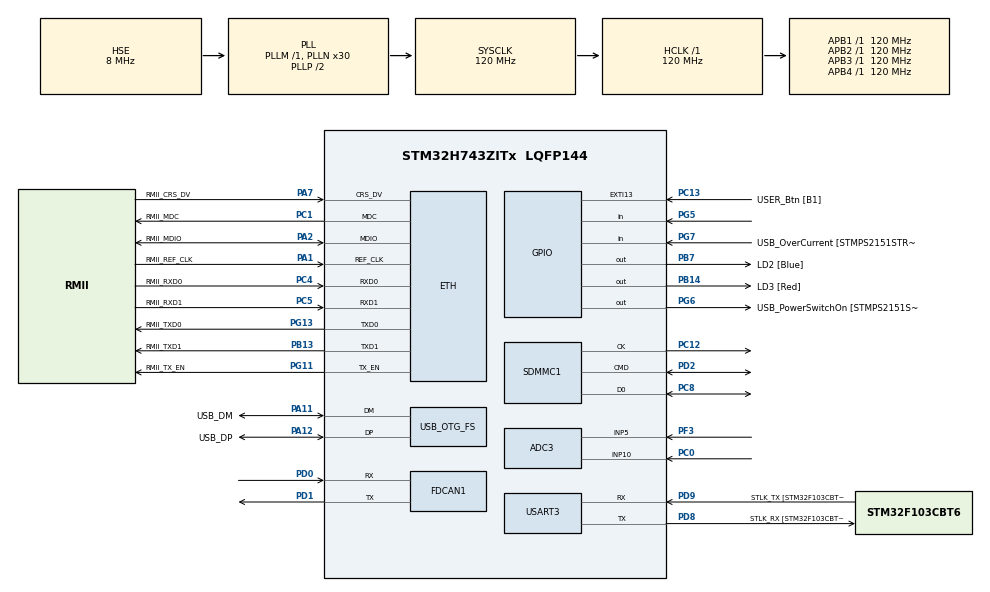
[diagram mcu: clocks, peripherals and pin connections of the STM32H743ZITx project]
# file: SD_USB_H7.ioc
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ADC3.Channel-2\#ChannelRegularConversion=ADC_CHANNEL_5
ADC3.Channel-3\#ChannelRegularConversion=ADC_CHANNEL_5
ADC3.ClockPrescaler=ADC_CLOCK_ASYNC_DIV6
ADC3.ContinuousConvMode=DISABLE
ADC3.ConversionDataManagement=ADC_CONVERSIONDATA_DMA_CIRCULAR
ADC3.ExternalTrigConv=ADC_EXTERNALTRIG_T4_TRGO
ADC3.NbrOfConversion=2
ADC3.NbrOfConversionFlag=1
ADC3.OffsetNumber-2\#ChannelRegularConversion=ADC_OFFSET_NONE
ADC3.OffsetNumber-3\#ChannelRegularConversion=ADC_OFFSET_NONE
ADC3.Overrun=ADC_OVR_DATA_OVERWRITTEN
ADC3.Rank-2\#ChannelRegularConversion=1
ADC3.Rank-3\#ChannelRegularConversion=2
ADC3.SamplingTime-2\#ChannelRegularConversion=ADC_SAMPLETIME_1CYCLE_5
ADC3.SamplingTime-3\#ChannelRegularConversion=ADC_SAMPLETIME_1CYCLE_5
Dma.ADC3.0.Direction=DMA_PERIPH_TO_MEMORY
Dma.ADC3.0.EventEnable=DISABLE
Dma.ADC3.0.FIFOMode=DMA_FIFOMODE_DISABLE
Dma.ADC3.0.Instance=DMA1_Stream0
Dma.ADC3.0.MemDataAlignment=DMA_MDATAALIGN_HALFWORD
Dma.ADC3.0.MemInc=DMA_MINC_ENABLE
Dma.ADC3.0.Mode=DMA_CIRCULAR
Dma.ADC3.0.PeriphDataAlignment=DMA_PDATAALIGN_HALFWORD
Dma.ADC3.0.PeriphInc=DMA_PINC_DISABLE
Dma.ADC3.0.Polarity=HAL_DMAMUX_REQ_GEN_RISING
Dma.ADC3.0.Priority=DMA_PRIORITY_LOW
Dma.ADC3.0.RequestNumber=1
Dma.ADC3.0.SignalID=NONE
Dma.ADC3.0.SyncEnable=DISABLE
Dma.ADC3.0.SyncPolarity=HAL_DMAMUX_SYNC_NO_EVENT
Dma.ADC3.0.SyncRequestNumber=1
Dma.ADC3.0.SyncSignalID=NONE
Dma.Request0=ADC3
ETH.MediaInterface=HAL_ETH_RMII_MODE
FATFS.BSP.number=1
FATFS.USE_DMA_CODE_SD=0
FATFS._CODE_PAGE=850
FATFS._FS_EXFAT=1
FATFS._FS_LOCK=2
FATFS._LFN_UNICODE=0
FATFS._MAX_SS=4096
FATFS._USE_LFN=3
FATFS._VOLUMES=2
FATFS0.BSP.STBoard=false
FATFS0.BSP.api=Unknown
FATFS0.BSP.i2caddr=0
FATFS0.BSP.instance=PG5
FATFS0.BSP.ip=GPIO
FATFS0.BSP.mode=Input
FATFS0.BSP.name=Detect_SDIO
FATFS0.BSP.solution=PG5
FDCAN1.NominalPrescaler=5
FDCAN1.NominalTimeSeg1=13
Mcu.Family=STM32H7
Mcu.Name=STM32H743ZITx
Mcu.Package=LQFP144
NVIC.DMA1_Stream0_IRQn=true\:0\:0\:false\:false\:true\:false\:true
NVIC.EXTI15_10_IRQn=true\:0\:0\:false\:true\:true\:2\:true\:true
NVIC.FDCAN1_IT0_IRQn=true\:0\:0\:false\:true\:true\:1\:true\:true
NVIC.FDCAN_CAL_IRQn=true\:0\:0\:false\:true\:true\:3\:true\:true
NVIC.OTG_FS_IRQn=true\:0\:0\:false\:true\:true\:4\:false\:true
NVIC.PriorityGroup=NVIC_PRIORITYGROUP_4
NVIC.TIM17_IRQn=true\:0\:0\:false\:true\:true\:5\:true\:true
PA1.GPIO_Label=RMII_REF_CLK
PA1.Mode=RMII
PA1.Signal=ETH_REF_CLK
PA10.GPIO_Label=USB_ID
PA10.Signal=USB_OTG_FS_ID
PA11.GPIO_Label=USB_DM
PA11.Mode=Device_Only
PA11.Signal=USB_OTG_FS_DM
PA12.GPIO_Label=USB_DP
PA12.Mode=Device_Only
PA12.Signal=USB_OTG_FS_DP
PA2.GPIO_Label=RMII_MDIO
PA2.Mode=RMII
PA2.Signal=ETH_MDIO
PA7.GPIO_Label=RMII_CRS_DV
PA7.Mode=RMII
PA7.Signal=ETH_CRS_DV
PA8.GPIO_Label=USB_SOF [TP1]
PA8.Signal=USB_OTG_FS_SOF
PA9.GPIO_Label=USB_VBUS
PA9.Signal=USB_OTG_FS_VBUS
PB13.GPIO_Label=RMII_TXD1
PB13.Mode=RMII
PB13.Signal=ETH_TXD1
PB14.GPIO_Label=LD3 [Red]
PB14.GPIO_PuPd=GPIO_NOPULL
PB14.Signal=GPIO_Output
PB7.GPIO_Label=LD2 [Blue]
PB7.GPIO_PuPd=GPIO_NOPULL
PB7.Signal=GPIO_Output
PC0.Signal=ADCx_INP10
PC1.GPIO_Label=RMII_MDC
PC1.Mode=RMII
PC1.Signal=ETH_MDC
PC12.Mode=SD_1_bit
PC12.Signal=SDMMC1_CK
PC13.GPIO_Label=USER_Btn [B1]
PC13.GPIO_ModeDefaultEXTI=GPIO_MODE_IT_RISING
PC13.Signal=GPXTI13
PC14-OSC32_IN\ (OSC32_IN).Mode=LSE-External-Oscillator
PC14-OSC32_IN\ (OSC32_IN).Signal=RCC_OSC32_IN
PC15-OSC32_OUT\ (OSC32_OUT).Mode=LSE-External-Oscillator
PC15-OSC32_OUT\ (OSC32_OUT).Signal=RCC_OSC32_OUT
PC4.GPIO_Label=RMII_RXD0
PC4.Mode=RMII
PC4.Signal=ETH_RXD0
PC5.GPIO_Label=RMII_RXD1
PC5.Mode=RMII
PC5.Signal=ETH_RXD1
PC8.GPIO_PuPd=GPIO_PULLUP
PC8.Mode=SD_1_bit
PC8.Signal=SDMMC1_D0
PD0.Mode=FDCANMaster
PD0.Signal=FDCAN1_RX
PD1.Mode=FDCANMaster
PD1.Signal=FDCAN1_TX
PD2.GPIO_PuPd=GPIO_PULLUP
PD2.Mode=SD_1_bit
PD2.Signal=SDMMC1_CMD
PD8.GPIO_Label=STLK_RX [STM32F103CBT6_PA3]
PD8.Mode=Asynchronous
PD8.Signal=USART3_TX
PD9.GPIO_Label=STLK_TX [STM32F103CBT6_PA2]
PD9.Mode=Asynchronous
PD9.Signal=USART3_RX
PF3.Mode=IN5-Single-Ended
PF3.Signal=ADC3_INP5
PG11.GPIO_Label=RMII_TX_EN
PG11.Mode=RMII
PG11.Signal=ETH_TX_EN
PG13.GPIO_Label=RMII_TXD0
PG13.Mode=RMII
PG13.Signal=ETH_TXD0
PG5.GPIO_PuPd=GPIO_PULLDOWN
PG5.Signal=GPIO_Input
PG6.GPIO_Label=USB_PowerSwitchOn [STMPS2151STR_EN]
PG6.Signal=GPIO_Output
PG7.GPIO_Label=USB_OverCurrent [STMPS2151STR_FAULT]
PG7.Signal=GPIO_Input
PH0-OSC_IN\ (PH0).GPIO_Label=MCO
PH0-OSC_IN\ (PH0).Mode=HSE-External-Clock-Source
PH0-OSC_IN\ (PH0).Signal=RCC_OSC_IN
PH1-OSC_OUT\ (PH1).Signal=RCC_OSC_OUT
ProjectManager.HeapSize=0x2000
ProjectManager.StackSize=0x4000
ProjectManager.TargetToolchain=STM32CubeIDE
RCC.48MHZClocksFreq_Value=24000000
RCC.ADCFreq_Value=150000000
RCC.AHBFreq_Value=216000000
RCC.APB1CLKDivider=RCC_HCLK_DIV4
RCC.APB1Freq_Value=120000000
RCC.APB1TimFreq_Value=108000000
RCC.APB2CLKDivider=RCC_HCLK_DIV2
RCC.APB2Freq_Value=120000000
RCC.APB2TimFreq_Value=216000000
RCC.APB3Freq_Value=120000000
RCC.APB4Freq_Value=120000000
RCC.CortexFreq_Value=120000000
RCC.DIVM1=1
RCC.DIVM2=1
RCC.DIVN1=30
RCC.DIVN2=18
RCC.DIVP2=1
RCC.DIVQ1=1
RCC.FDCANCLockSelection=RCC_FDCANCLKSOURCE_PLL2
RCC.HCLKFreq_Value=120000000
RCC.HSE_VALUE=8000000
RCC.HSI_VALUE=64000000
RCC.PLL2FRACN=6144
RCC.PLL3FRACN=0
RCC.PLLFRACN=0
RCC.PLLM=25
RCC.PLLMUL=RCC_PLL_MUL9
RCC.PLLN=432
RCC.PLLQ=9
RCC.PLLSourceVirtual=RCC_PLLSOURCE_HSE
RCC.PRESCALERUSB=RCC_USBCLKSOURCE_PLL_DIV1_5
RCC.PWR_Regulator_Voltage_Scale=PWR_REGULATOR_VOLTAGE_SCALE1
RCC.SYSCLKFreq_VALUE=120000000
RCC.SYSCLKSource=RCC_SYSCLKSOURCE_PLLCLK
RCC.SYSCLKSourceVirtual=RCC_SYSCLKSOURCE_PLLCLK
RCC.USBCLockSelection=RCC_USBCLKSOURCE_HSI48
RCC.USBFreq_Value=48000000
RCC.VCOOutputFreq_Value=432000000
SDMMC1.ClockDiv=0
SDMMC1.HardwareFlowControl=SDMMC_HARDWARE_FLOW_CONTROL_ENABLE
SH.ADCx_INP10.0=ADC3_INP10,IN10-Single-Ended
TIM17.AutoReloadPreload=TIM_AUTORELOAD_PRELOAD_ENABLE
TIM17.Period=400
TIM17.Prescaler=63999
TIM4.AutoReloadPreload=TIM_AUTORELOAD_PRELOAD_ENABLE
TIM4.Period=100
TIM4.Prescaler=4
TIM4.TIM_MasterOutputTrigger=TIM_TRGO_UPDATE
USART3.VirtualMode-Asynchronous=VM_ASYNC
USB_DEVICE.CLASS_NAME_FS=MSC
USB_DEVICE.VirtualMode-MSC_FS=Msc
USB_DEVICE.VirtualModeFS=Msc_FS
USB_OTG_FS.VirtualMode=Device_Only
VP_FATFS_VS_SDIO.Mode=SDIO
VP_RTC_VS_RTC_Activate.Mode=RTC_Enabled
VP_RTC_VS_RTC_Calendar.Mode=RTC_Calendar
VP_TIM17_VS_ClockSourceINT.Mode=Enable_Timer
VP_TIM4_VS_ClockSourceINT.Mode=Internal
VP_USB_DEVICE_VS_USB_DEVICE_MSC_FS.Mode=MSC_FS
board=NUCLEO-H743ZI

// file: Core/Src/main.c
/* USER CODE BEGIN Header */
/**
  ******************************************************************************
  * @file           : main.c
  * @brief          : Main program body
  ******************************************************************************
  * @attention
  *
  * <h2><center>&copy; Copyright (c) 2020 STMicroelectronics.
  * All rights reserved.</center></h2>
  *
  * This software component is licensed by ST under BSD 3-Clause license,
  * the "License"; You may not use this file except in compliance with the
  * License. You may obtain a copy of the License at:
  *                        opensource.org/licenses/BSD-3-Clause
  *
  ******************************************************************************
  */
/* USER CODE END Header */

#include "main.h"
#include "string.h"
#include "fatfs.h"
#include "usb_device.h"

/* USER CODE BEGIN PD */
#define ADC_CONVERTED_DATA_BUFFER_SIZE   230000   /* Size of array aADCxConvertedData[] */
/* USER CODE END PD */

/* USER CODE BEGIN PM */
FRESULT scrivi();
FRESULT leggi();
FRESULT scrivi_speed();
HAL_SD_CardInfoTypeDef SDCardInfo;
/* USER CODE END PM */

#if defined ( __ICCARM__ ) /*!< IAR Compiler */

#pragma location=0x30040000
ETH_DMADescTypeDef  DMARxDscrTab[ETH_RX_DESC_CNT]; /* Ethernet Rx DMA Descriptors */
#pragma location=0x30040060
ETH_DMADescTypeDef  DMATxDscrTab[ETH_TX_DESC_CNT]; /* Ethernet Tx DMA Descriptors */
#pragma location=0x30040200
uint8_t Rx_Buff[ETH_RX_DESC_CNT][ETH_MAX_PACKET_SIZE]; /* Ethernet Receive Buffers */

#elif defined ( __CC_ARM )  /* MDK ARM Compiler */

__attribute__((at(0x30040000))) ETH_DMADescTypeDef  DMARxDscrTab[ETH_RX_DESC_CNT]; /* Ethernet Rx DMA Descriptors */
__attribute__((at(0x30040060))) ETH_DMADescTypeDef  DMATxDscrTab[ETH_TX_DESC_CNT]; /* Ethernet Tx DMA Descriptors */
__attribute__((at(0x30040200))) uint8_t Rx_Buff[ETH_RX_DESC_CNT][ETH_MAX_PACKET_SIZE]; /* Ethernet Receive Buffer */

#elif defined ( __GNUC__ ) /* GNU Compiler */

ETH_DMADescTypeDef DMARxDscrTab[ETH_RX_DESC_CNT] __attribute__((section(".RxDecripSection"))); /* Ethernet Rx DMA Descriptors */
ETH_DMADescTypeDef DMATxDscrTab[ETH_TX_DESC_CNT] __attribute__((section(".TxDecripSection")));   /* Ethernet Tx DMA Descriptors */
uint8_t Rx_Buff[ETH_RX_DESC_CNT][ETH_MAX_PACKET_SIZE] __attribute__((section(".RxArraySection"))); /* Ethernet Receive Buffers */

#endif

ETH_TxPacketConfig TxConfig;
ADC_HandleTypeDef hadc3;
DMA_HandleTypeDef hdma_adc3;

ETH_HandleTypeDef heth;

FDCAN_HandleTypeDef hfdcan1;

RTC_HandleTypeDef hrtc;

SD_HandleTypeDef hsd1;

TIM_HandleTypeDef htim4;
TIM_HandleTypeDef htim17;

UART_HandleTypeDef huart3;

/* USER CODE BEGIN PV */
uint16_t analogDmaData[ADC_CONVERTED_DATA_BUFFER_SIZE];
/* Variable containing ADC conversions data */

HAL_SD_CardInfoTypeDef SDCardInfo;
FATFS myFatFS;
FIL myFile;
UINT myBytes;
uint8_t workBuffer[_MAX_SS];
FATFS USERFatFs;    /* File system object for USER logical drive */
char USERPath[4];
uint8_t TxData[8];
uint32_t id;
uint8_t DataSpi[8];
uint8_t readBuff[64];
uint8_t br;
int32_t curr;
uint32_t indice =0;
uint32_t time;
uint32_t indox=0;
uint8_t flag = 0;
uint8_t Time[3];
uint8_t Date[3];
FIL writeFile;
extern USBD_HandleTypeDef hUsbDeviceFS;
//extern USBD_StorageTypeDef USBD_Storage_Interface_fops_FS;
extern USBD_ClassTypeDef  USBD_MSC;
extern USBD_DescriptorsTypeDef FS_Desc;
RTC_TimeTypeDef stimeststuctureget;
RTC_DateTypeDef Data;
char USERPath[4];   /* USER logical drive path */
uint8_t bytesWrote;
uint8_t path1[] = "STM32.TXT";
/* USER CODE END PV */

void SystemClock_Config(void);
static void MX_GPIO_Init(void);
static void MX_DMA_Init(void);
static void MX_ETH_Init(void);
static void MX_USART3_UART_Init(void);
static void MX_SDMMC1_SD_Init(void);
static void MX_RTC_Init(void);
static void MX_TIM17_Init(void);
static void MX_FDCAN1_Init(void);
static void MX_ADC3_Init(void);
static void MX_TIM4_Init(void);
static void MX_NVIC_Init(void);

int main(void)
{

  /* MCU Configuration--------------------------------------------------------*/

  /* Reset of all peripherals, Initializes the Flash interface and the Systick. */
  HAL_Init();

  /* USER CODE BEGIN Init */
  int i=0;
  /* USER CODE END Init */

  /* Configure the system clock */
  SystemClock_Config();

  /* Initialize all configured peripherals */
  MX_GPIO_Init();
  MX_DMA_Init();
  MX_ETH_Init();
  MX_USART3_UART_Init();
  MX_SDMMC1_SD_Init();
  MX_FATFS_Init();
  MX_RTC_Init();
  MX_USB_DEVICE_Init();
  MX_TIM17_Init();
  MX_FDCAN1_Init();
  MX_ADC3_Init();
  MX_TIM4_Init();

  /* Initialize interrupts */
  MX_NVIC_Init();
  /* USER CODE BEGIN 2 */
  HAL_SD_Init(&hsd1);
  HAL_SD_GetCardInfo(&hsd1, &SDCardInfo);
  HAL_SD_Init(&hsd1);
  FRESULT res;
  res=f_mount(&myFatFS, SDPath, 1);
  HAL_TIM_Base_Start_IT(&htim17);
  HAL_TIM_Base_Start_IT(&htim4);
  HAL_ADCEx_Calibration_Start(&hadc3, ADC_CALIB_OFFSET,ADC_SINGLE_ENDED);
  HAL_ADC_Start_DMA(&hadc3, (uint32_t*)analogDmaData, ADC_CONVERTED_DATA_BUFFER_SIZE);

  //HAL_SD_ConfigWideBusOperation(&hsd1,SDMMC_BUS_WIDE_4B);
  /* USER CODE END 2 */

  /* Infinite loop */
  /* USER CODE BEGIN WHILE */
  while (1)
  {

	  if(HAL_GPIO_ReadPin(USER_Btn_GPIO_Port,USER_Btn_Pin)==GPIO_PIN_SET){
		  if(i==0){
			  HAL_TIM_Base_Stop_IT(&htim17);
			  //NVIC_DisableIRQ(OTG_FS_IRQn);
			  HAL_GPIO_WritePin(LD3_GPIO_Port,LD3_Pin, GPIO_PIN_SET);
			  if(USBD_Stop(&hUsbDeviceFS)!= USBD_OK) {
								Error_Handler();
							  }

			  res = f_open(&writeFile, &path1, FA_CREATE_ALWAYS);
			  res = f_close(&writeFile);
			  res = f_open(&writeFile, &path1, FA_WRITE | FA_OPEN_ALWAYS);

			  for(int u=0;u<7200;u++){

				  scrivi_speed();
			  }

			  res = f_close(&writeFile);
			  HAL_GPIO_WritePin(LD3_GPIO_Port,LD3_Pin, GPIO_PIN_RESET);
		      i=0;
		      HAL_Delay(200);}

			  HAL_GPIO_WritePin(LD3_GPIO_Port,LD3_Pin, GPIO_PIN_RESET);

			  MX_USB_DEVICE_Init();
			  /*if(USBD_Start(&hUsbDeviceFS)!= USBD_OK) {
			 			  				    Error_Handler();
			 			  				  }*/
			  //NVIC_EnableIRQ(OTG_FS_IRQn);
			  HAL_TIM_Base_Start_IT(&htim17);
			  HAL_Delay(200);

	  }
    /* USER CODE END WHILE */

  }
}

void SystemClock_Config(void)
{
  RCC_OscInitTypeDef RCC_OscInitStruct = {0};
  RCC_ClkInitTypeDef RCC_ClkInitStruct = {0};
  RCC_PeriphCLKInitTypeDef PeriphClkInitStruct = {0};

  /** Supply configuration update enable
  */
  HAL_PWREx_ConfigSupply(PWR_LDO_SUPPLY);
  /** Configure the main internal regulator output voltage
  */
  __HAL_PWR_VOLTAGESCALING_CONFIG(PWR_REGULATOR_VOLTAGE_SCALE1);

  while(!__HAL_PWR_GET_FLAG(PWR_FLAG_VOSRDY)) {}
  /** Macro to configure the PLL clock source
  */
  __HAL_RCC_PLL_PLLSOURCE_CONFIG(RCC_PLLSOURCE_HSE);
  /** Initializes the CPU, AHB and APB busses clocks
  */
  RCC_OscInitStruct.OscillatorType = RCC_OSCILLATORTYPE_HSI48|RCC_OSCILLATORTYPE_LSI
                              |RCC_OSCILLATORTYPE_HSE;
  RCC_OscInitStruct.HSEState = RCC_HSE_BYPASS;
  RCC_OscInitStruct.LSIState = RCC_LSI_ON;
  RCC_OscInitStruct.HSI48State = RCC_HSI48_ON;
  RCC_OscInitStruct.PLL.PLLState = RCC_PLL_ON;
  RCC_OscInitStruct.PLL.PLLSource = RCC_PLLSOURCE_HSE;
  RCC_OscInitStruct.PLL.PLLM = 1;
  RCC_OscInitStruct.PLL.PLLN = 30;
  RCC_OscInitStruct.PLL.PLLP = 2;
  RCC_OscInitStruct.PLL.PLLQ = 1;
  RCC_OscInitStruct.PLL.PLLR = 2;
  RCC_OscInitStruct.PLL.PLLRGE = RCC_PLL1VCIRANGE_3;
  RCC_OscInitStruct.PLL.PLLVCOSEL = RCC_PLL1VCOWIDE;
  RCC_OscInitStruct.PLL.PLLFRACN = 0;
  if (HAL_RCC_OscConfig(&RCC_OscInitStruct) != HAL_OK)
  {
    Error_Handler();
  }
  /** Initializes the CPU, AHB and APB busses clocks
  */
  RCC_ClkInitStruct.ClockType = RCC_CLOCKTYPE_HCLK|RCC_CLOCKTYPE_SYSCLK
                              |RCC_CLOCKTYPE_PCLK1|RCC_CLOCKTYPE_PCLK2
                              |RCC_CLOCKTYPE_D3PCLK1|RCC_CLOCKTYPE_D1PCLK1;
  RCC_ClkInitStruct.SYSCLKSource = RCC_SYSCLKSOURCE_PLLCLK;
  RCC_ClkInitStruct.SYSCLKDivider = RCC_SYSCLK_DIV1;
  RCC_ClkInitStruct.AHBCLKDivider = RCC_HCLK_DIV1;
  RCC_ClkInitStruct.APB3CLKDivider = RCC_APB3_DIV1;
  RCC_ClkInitStruct.APB1CLKDivider = RCC_APB1_DIV1;
  RCC_ClkInitStruct.APB2CLKDivider = RCC_APB2_DIV1;
  RCC_ClkInitStruct.APB4CLKDivider = RCC_APB4_DIV1;

  if (HAL_RCC_ClockConfig(&RCC_ClkInitStruct, FLASH_LATENCY_1) != HAL_OK)
  {
    Error_Handler();
  }
  PeriphClkInitStruct.PeriphClockSelection = RCC_PERIPHCLK_RTC|RCC_PERIPHCLK_USART3
                              |RCC_PERIPHCLK_FDCAN|RCC_PERIPHCLK_SDMMC
                              |RCC_PERIPHCLK_ADC|RCC_PERIPHCLK_USB;
  PeriphClkInitStruct.PLL2.PLL2M = 1;
  PeriphClkInitStruct.PLL2.PLL2N = 18;
  PeriphClkInitStruct.PLL2.PLL2P = 1;
  PeriphClkInitStruct.PLL2.PLL2Q = 2;
  PeriphClkInitStruct.PLL2.PLL2R = 2;
  PeriphClkInitStruct.PLL2.PLL2RGE = RCC_PLL2VCIRANGE_3;
  PeriphClkInitStruct.PLL2.PLL2VCOSEL = RCC_PLL2VCOMEDIUM;
  PeriphClkInitStruct.PLL2.PLL2FRACN = 6144;
  PeriphClkInitStruct.SdmmcClockSelection = RCC_SDMMCCLKSOURCE_PLL;
  PeriphClkInitStruct.FdcanClockSelection = RCC_FDCANCLKSOURCE_PLL2;
  PeriphClkInitStruct.Usart234578ClockSelection = RCC_USART234578CLKSOURCE_D2PCLK1;
  PeriphClkInitStruct.UsbClockSelection = RCC_USBCLKSOURCE_HSI48;
  PeriphClkInitStruct.AdcClockSelection = RCC_ADCCLKSOURCE_PLL2;
  PeriphClkInitStruct.RTCClockSelection = RCC_RTCCLKSOURCE_LSI;
  if (HAL_RCCEx_PeriphCLKConfig(&PeriphClkInitStruct) != HAL_OK)
  {
    Error_Handler();
  }
  /** Enable USB Voltage detector
  */
  HAL_PWREx_EnableUSBVoltageDetector();
}

/**
  * @brief NVIC Configuration.
  * @retval None
  */
static void MX_NVIC_Init(void)
{
  /* FDCAN1_IT0_IRQn interrupt configuration */
  HAL_NVIC_SetPriority(FDCAN1_IT0_IRQn, 0, 0);
  HAL_NVIC_EnableIRQ(FDCAN1_IT0_IRQn);
  /* EXTI15_10_IRQn interrupt configuration */
  HAL_NVIC_SetPriority(EXTI15_10_IRQn, 0, 0);
  HAL_NVIC_EnableIRQ(EXTI15_10_IRQn);
  /* FDCAN_CAL_IRQn interrupt configuration */
  HAL_NVIC_SetPriority(FDCAN_CAL_IRQn, 0, 0);
  HAL_NVIC_EnableIRQ(FDCAN_CAL_IRQn);
  /* OTG_FS_IRQn interrupt configuration */
  HAL_NVIC_SetPriority(OTG_FS_IRQn, 0, 0);
  HAL_NVIC_EnableIRQ(OTG_FS_IRQn);
  /* TIM17_IRQn interrupt configuration */
  HAL_NVIC_SetPriority(TIM17_IRQn, 0, 0);
  HAL_NVIC_EnableIRQ(TIM17_IRQn);
}

static void MX_ADC3_Init(void)
{

  ADC_ChannelConfTypeDef sConfig = {0};

  /** Common config
  */
  hadc3.Instance = ADC3;
  hadc3.Init.ClockPrescaler = ADC_CLOCK_ASYNC_DIV6;
  hadc3.Init.Resolution = ADC_RESOLUTION_16B;
  hadc3.Init.ScanConvMode = ADC_SCAN_ENABLE;
  hadc3.Init.EOCSelection = ADC_EOC_SINGLE_CONV;
  hadc3.Init.LowPowerAutoWait = DISABLE;
  hadc3.Init.ContinuousConvMode = DISABLE;
  hadc3.Init.NbrOfConversion = 2;
  hadc3.Init.DiscontinuousConvMode = DISABLE;
  hadc3.Init.ExternalTrigConv = ADC_EXTERNALTRIG_T4_TRGO;
  hadc3.Init.ExternalTrigConvEdge = ADC_EXTERNALTRIGCONVEDGE_RISING;
  hadc3.Init.ConversionDataManagement = ADC_CONVERSIONDATA_DMA_CIRCULAR;
  hadc3.Init.Overrun = ADC_OVR_DATA_OVERWRITTEN;
  hadc3.Init.LeftBitShift = ADC_LEFTBITSHIFT_NONE;
  hadc3.Init.OversamplingMode = DISABLE;
  if (HAL_ADC_Init(&hadc3) != HAL_OK)
  {
    Error_Handler();
  }
  /** Configure Regular Channel
  */
  sConfig.Channel = ADC_CHANNEL_5;
  sConfig.Rank = ADC_REGULAR_RANK_1;
  sConfig.SamplingTime = ADC_SAMPLETIME_1CYCLE_5;
  sConfig.SingleDiff = ADC_SINGLE_ENDED;
  sConfig.OffsetNumber = ADC_OFFSET_NONE;
  sConfig.Offset = 0;
  if (HAL_ADC_ConfigChannel(&hadc3, &sConfig) != HAL_OK)
  {
    Error_Handler();
  }
  /** Configure Regular Channel
  */
  sConfig.Rank = ADC_REGULAR_RANK_2;
  if (HAL_ADC_ConfigChannel(&hadc3, &sConfig) != HAL_OK)
  {
    Error_Handler();
  }

}

static void MX_ETH_Init(void)
{

  heth.Instance = ETH;
  heth.Init.MACAddr[0] =   0x00;
  heth.Init.MACAddr[1] =   0x80;
  heth.Init.MACAddr[2] =   0xE1;
  heth.Init.MACAddr[3] =   0x00;
  heth.Init.MACAddr[4] =   0x00;
  heth.Init.MACAddr[5] =   0x00;
  heth.Init.MediaInterface = HAL_ETH_RMII_MODE;
  heth.Init.TxDesc = DMATxDscrTab;
  heth.Init.RxDesc = DMARxDscrTab;
  heth.Init.RxBuffLen = 1524;

  if (HAL_ETH_Init(&heth) != HAL_OK)
  {
    Error_Handler();
  }

  memset(&TxConfig, 0 , sizeof(ETH_TxPacketConfig));
  TxConfig.Attributes = ETH_TX_PACKETS_FEATURES_CSUM | ETH_TX_PACKETS_FEATURES_CRCPAD;
  TxConfig.ChecksumCtrl = ETH_CHECKSUM_IPHDR_PAYLOAD_INSERT_PHDR_CALC;
  TxConfig.CRCPadCtrl = ETH_CRC_PAD_INSERT;

}

static void MX_FDCAN1_Init(void)
{

  hfdcan1.Instance = FDCAN1;
  hfdcan1.Init.FrameFormat = FDCAN_FRAME_CLASSIC;
  hfdcan1.Init.Mode = FDCAN_MODE_NORMAL;
  hfdcan1.Init.AutoRetransmission = DISABLE;
  hfdcan1.Init.TransmitPause = DISABLE;
  hfdcan1.Init.ProtocolException = DISABLE;
  hfdcan1.Init.NominalPrescaler = 5;
  hfdcan1.Init.NominalSyncJumpWidth = 1;
  hfdcan1.Init.NominalTimeSeg1 = 13;
  hfdcan1.Init.NominalTimeSeg2 = 2;
  hfdcan1.Init.DataPrescaler = 1;
  hfdcan1.Init.DataSyncJumpWidth = 1;
  hfdcan1.Init.DataTimeSeg1 = 1;
  hfdcan1.Init.DataTimeSeg2 = 1;
  hfdcan1.Init.MessageRAMOffset = 0;
  hfdcan1.Init.StdFiltersNbr = 0;
  hfdcan1.Init.ExtFiltersNbr = 0;
  hfdcan1.Init.RxFifo0ElmtsNbr = 0;
  hfdcan1.Init.RxFifo0ElmtSize = FDCAN_DATA_BYTES_8;
  hfdcan1.Init.RxFifo1ElmtsNbr = 0;
  hfdcan1.Init.RxFifo1ElmtSize = FDCAN_DATA_BYTES_8;
  hfdcan1.Init.RxBuffersNbr = 0;
  hfdcan1.Init.RxBufferSize = FDCAN_DATA_BYTES_8;
  hfdcan1.Init.TxEventsNbr = 0;
  hfdcan1.Init.TxBuffersNbr = 0;
  hfdcan1.Init.TxFifoQueueElmtsNbr = 0;
  hfdcan1.Init.TxFifoQueueMode = FDCAN_TX_FIFO_OPERATION;
  hfdcan1.Init.TxElmtSize = FDCAN_DATA_BYTES_8;
  if (HAL_FDCAN_Init(&hfdcan1) != HAL_OK)
  {
    Error_Handler();
  }

}

static void MX_RTC_Init(void)
{

  RTC_TimeTypeDef sTime = {0};
  RTC_DateTypeDef sDate = {0};

  /** Initialize RTC Only
  */
  hrtc.Instance = RTC;
  hrtc.Init.HourFormat = RTC_HOURFORMAT_24;
  hrtc.Init.AsynchPrediv = 127;
  hrtc.Init.SynchPrediv = 255;
  hrtc.Init.OutPut = RTC_OUTPUT_DISABLE;
  hrtc.Init.OutPutPolarity = RTC_OUTPUT_POLARITY_HIGH;
  hrtc.Init.OutPutType = RTC_OUTPUT_TYPE_OPENDRAIN;
  hrtc.Init.OutPutRemap = RTC_OUTPUT_REMAP_NONE;
  if (HAL_RTC_Init(&hrtc) != HAL_OK)
  {
    Error_Handler();
  }

  /** Initialize RTC and set the Time and Date
  */
  sTime.Hours = 0x0;
  sTime.Minutes = 0x0;
  sTime.Seconds = 0x0;
  sTime.DayLightSaving = RTC_DAYLIGHTSAVING_NONE;
  sTime.StoreOperation = RTC_STOREOPERATION_RESET;
  if (HAL_RTC_SetTime(&hrtc, &sTime, RTC_FORMAT_BCD) != HAL_OK)
  {
    Error_Handler();
  }
  sDate.WeekDay = RTC_WEEKDAY_MONDAY;
  sDate.Month = RTC_MONTH_JANUARY;
  sDate.Date = 0x1;
  sDate.Year = 0x0;

  if (HAL_RTC_SetDate(&hrtc, &sDate, RTC_FORMAT_BCD) != HAL_OK)
  {
    Error_Handler();
  }

}

static void MX_SDMMC1_SD_Init(void)
{

  hsd1.Instance = SDMMC1;
  hsd1.Init.ClockEdge = SDMMC_CLOCK_EDGE_RISING;
  hsd1.Init.ClockPowerSave = SDMMC_CLOCK_POWER_SAVE_DISABLE;
  hsd1.Init.BusWide = SDMMC_BUS_WIDE_1B;
  hsd1.Init.HardwareFlowControl = SDMMC_HARDWARE_FLOW_CONTROL_ENABLE;
  hsd1.Init.ClockDiv = 0;
  hsd1.Init.TranceiverPresent = SDMMC_TRANSCEIVER_NOT_PRESENT;

}

static void MX_TIM4_Init(void)
{

  TIM_ClockConfigTypeDef sClockSourceConfig = {0};
  TIM_MasterConfigTypeDef sMasterConfig = {0};

  htim4.Instance = TIM4;
  htim4.Init.Prescaler = 4;
  htim4.Init.CounterMode = TIM_COUNTERMODE_UP;
  htim4.Init.Period = 100;
  htim4.Init.ClockDivision = TIM_CLOCKDIVISION_DIV1;
  htim4.Init.AutoReloadPreload = TIM_AUTORELOAD_PRELOAD_ENABLE;
  if (HAL_TIM_Base_Init(&htim4) != HAL_OK)
  {
    Error_Handler();
  }
  sClockSourceConfig.ClockSource = TIM_CLOCKSOURCE_INTERNAL;
  if (HAL_TIM_ConfigClockSource(&htim4, &sClockSourceConfig) != HAL_OK)
  {
    Error_Handler();
  }
  sMasterConfig.MasterOutputTrigger = TIM_TRGO_UPDATE;
  sMasterConfig.MasterSlaveMode = TIM_MASTERSLAVEMODE_DISABLE;
  if (HAL_TIMEx_MasterConfigSynchronization(&htim4, &sMasterConfig) != HAL_OK)
  {
    Error_Handler();
  }

}

static void MX_TIM17_Init(void)
{

  htim17.Instance = TIM17;
  htim17.Init.Prescaler = 63999;
  htim17.Init.CounterMode = TIM_COUNTERMODE_UP;
  htim17.Init.Period = 400;
  htim17.Init.ClockDivision = TIM_CLOCKDIVISION_DIV1;
  htim17.Init.RepetitionCounter = 0;
  htim17.Init.AutoReloadPreload = TIM_AUTORELOAD_PRELOAD_ENABLE;
  if (HAL_TIM_Base_Init(&htim17) != HAL_OK)
  {
    Error_Handler();
  }

}

static void MX_USART3_UART_Init(void)
{

  huart3.Instance = USART3;
  huart3.Init.BaudRate = 115200;
  huart3.Init.WordLength = UART_WORDLENGTH_8B;
  huart3.Init.StopBits = UART_STOPBITS_1;
  huart3.Init.Parity = UART_PARITY_NONE;
  huart3.Init.Mode = UART_MODE_TX_RX;
  huart3.Init.HwFlowCtl = UART_HWCONTROL_NONE;
  huart3.Init.OverSampling = UART_OVERSAMPLING_16;
  huart3.Init.OneBitSampling = UART_ONE_BIT_SAMPLE_DISABLE;
  huart3.Init.ClockPrescaler = UART_PRESCALER_DIV1;
  huart3.AdvancedInit.AdvFeatureInit = UART_ADVFEATURE_NO_INIT;
  if (HAL_UART_Init(&huart3) != HAL_OK)
  {
    Error_Handler();
  }
  if (HAL_UARTEx_SetTxFifoThreshold(&huart3, UART_TXFIFO_THRESHOLD_1_8) != HAL_OK)
  {
    Error_Handler();
  }
  if (HAL_UARTEx_SetRxFifoThreshold(&huart3, UART_RXFIFO_THRESHOLD_1_8) != HAL_OK)
  {
    Error_Handler();
  }
  if (HAL_UARTEx_DisableFifoMode(&huart3) != HAL_OK)
  {
    Error_Handler();
  }

}

static void MX_DMA_Init(void)
{

  /* DMA controller clock enable */
  __HAL_RCC_DMA1_CLK_ENABLE();

  /* DMA interrupt init */
  /* DMA1_Stream0_IRQn interrupt configuration */
  HAL_NVIC_SetPriority(DMA1_Stream0_IRQn, 0, 0);
  HAL_NVIC_EnableIRQ(DMA1_Stream0_IRQn);

}

static void MX_GPIO_Init(void)
{
  GPIO_InitTypeDef GPIO_InitStruct = {0};

  /* GPIO Ports Clock Enable */
  __HAL_RCC_GPIOC_CLK_ENABLE();
  __HAL_RCC_GPIOF_CLK_ENABLE();
  __HAL_RCC_GPIOH_CLK_ENABLE();
  __HAL_RCC_GPIOA_CLK_ENABLE();
  __HAL_RCC_GPIOB_CLK_ENABLE();
  __HAL_RCC_GPIOD_CLK_ENABLE();
  __HAL_RCC_GPIOG_CLK_ENABLE();

  /*Configure GPIO pin Output Level */
  HAL_GPIO_WritePin(GPIOB, LD3_Pin|LD2_Pin, GPIO_PIN_RESET);

  /*Configure GPIO pin Output Level */
  HAL_GPIO_WritePin(USB_PowerSwitchOn_GPIO_Port, USB_PowerSwitchOn_Pin, GPIO_PIN_RESET);

  /*Configure GPIO pin : USER_Btn_Pin */
  GPIO_InitStruct.Pin = USER_Btn_Pin;
  GPIO_InitStruct.Mode = GPIO_MODE_IT_RISING;
  GPIO_InitStruct.Pull = GPIO_NOPULL;
  HAL_GPIO_Init(USER_Btn_GPIO_Port, &GPIO_InitStruct);

  /*Configure GPIO pins : LD3_Pin LD2_Pin */
  GPIO_InitStruct.Pin = LD3_Pin|LD2_Pin;
  GPIO_InitStruct.Mode = GPIO_MODE_OUTPUT_PP;
  GPIO_InitStruct.Pull = GPIO_NOPULL;
  GPIO_InitStruct.Speed = GPIO_SPEED_FREQ_LOW;
  HAL_GPIO_Init(GPIOB, &GPIO_InitStruct);

  /*Configure GPIO pin : PG5 */
  GPIO_InitStruct.Pin = GPIO_PIN_5;
  GPIO_InitStruct.Mode = GPIO_MODE_INPUT;
  GPIO_InitStruct.Pull = GPIO_PULLDOWN;
  HAL_GPIO_Init(GPIOG, &GPIO_InitStruct);

  /*Configure GPIO pin : USB_PowerSwitchOn_Pin */
  GPIO_InitStruct.Pin = USB_PowerSwitchOn_Pin;
  GPIO_InitStruct.Mode = GPIO_MODE_OUTPUT_PP;
  GPIO_InitStruct.Pull = GPIO_NOPULL;
  GPIO_InitStruct.Speed = GPIO_SPEED_FREQ_LOW;
  HAL_GPIO_Init(USB_PowerSwitchOn_GPIO_Port, &GPIO_InitStruct);

  /*Configure GPIO pin : USB_OverCurrent_Pin */
  GPIO_InitStruct.Pin = USB_OverCurrent_Pin;
  GPIO_InitStruct.Mode = GPIO_MODE_INPUT;
  GPIO_InitStruct.Pull = GPIO_NOPULL;
  HAL_GPIO_Init(USB_OverCurrent_GPIO_Port, &GPIO_InitStruct);

}

/* USER CODE BEGIN 4 */
/*void EXTI15_10_IRQHandler(void){

 if(__HAL_GPIO_EXTI_GET_FLAG(USER_Btn_Pin)){
 LD2_GPIO_Port -> ODR ^= LD2_Pin; // toggle LD2 LED
 }

}*/
void HAL_FDCAN_RxFifo0Callback(FDCAN_HandleTypeDef*hcan, uint32_t RxFifo0ITs){}
void HAL_TIM_PeriodElapsedCallback(TIM_HandleTypeDef *htim)
{
    if (htim->Instance==TIM17) //check if the interrupt comes from TIM2
        {
    	HAL_GPIO_TogglePin(LD2_GPIO_Port,LD2_Pin);
    	leggi();

        }}
FRESULT scrivi(){
	FRESULT res;
	      /* File  object for USER */
	   /* File system object for USER logical drive */
	//FIL USERFile;     /* File  object for USER */
	char USERPath[4];   /* USER logical drive path */
	uint8_t bytesWrote;
	uint8_t path1[] = "ST.TXT";
	//res = f_mount(&USERFatFs, (TCHAR const*)USERPath, 1);
	//res=f_mount(&myFatFS, USERPath, 1);
	res = f_open(&writeFile, &path1, FA_CREATE_ALWAYS);
	res = f_close(&writeFile);
	res = f_open(&writeFile, &path1, FA_WRITE | FA_OPEN_ALWAYS);
	if(res==FR_OK) {
		f_lseek(&writeFile, indox);

		//res1 = f_write(&writeFile, readBuf, size, &bytesWrote);}
		HAL_RTC_GetTime(&hrtc, &stimeststuctureget, RTC_FORMAT_BIN);
		HAL_RTC_GetDate(&hrtc, &Data, RTC_FORMAT_BIN);
		Time[0] = stimeststuctureget.Hours;
		Time[1] = stimeststuctureget.Minutes;
		Time[2] = stimeststuctureget.Seconds;

		indox=indox+f_printf(&writeFile,"%d:%d.%d,%d,%d\n",Time[0],Time[1],Time[2],curr,indox);}
		res = f_close(&writeFile);

	return res;
}
FRESULT leggi(){
    	FRESULT res;
    	FIL readFile;       /* File  object for USER */
    		   /* File system object for USER logical drive */
    		//FIL USERFile;     /* File  object for USER */
    	char USERPath[4];
    	uint8_t bytesWrote;
    	uint8_t pat[] = "current.txt";
    	res = f_open(&readFile, &pat, FA_READ);
    	res = f_read(&readFile,readBuff,1, &br);
    	if(readBuff[0]=='1'){flag++;}
    	scrivi();
    	res = f_close(&readFile);

    	}
FRESULT scrivi_speed(){
	FRESULT res;
	      /* File  object for USER */
	   /* File system object for USER logical drive */
	//FIL USERFile;     /* File  object for USER */

		/*HAL_RTC_GetTime(&hrtc, &stimeststuctureget, RTC_FORMAT_BIN);
		HAL_RTC_GetDate(&hrtc, &Data, RTC_FORMAT_BIN);
		Time[0] = stimeststuctureget.Hours;
		Time[1] = stimeststuctureget.Minutes;
		Time[2] = stimeststuctureget.Seconds;*/
		res = f_write(&writeFile,analogDmaData,ADC_CONVERTED_DATA_BUFFER_SIZE, &br);
	    //f_printf(&writeFile,"%d%x\n",Time[2],analogDmaData[0]);

	return res;
}
/*void HAL_ADC_ConvCpltCallBack(ADC_HandleTypeDef* hadc3){

}*/
/* USER CODE END 4 */

void Error_Handler(void)
{
}

/************************ (C) COPYRIGHT STMicroelectronics *****END OF FILE****/
